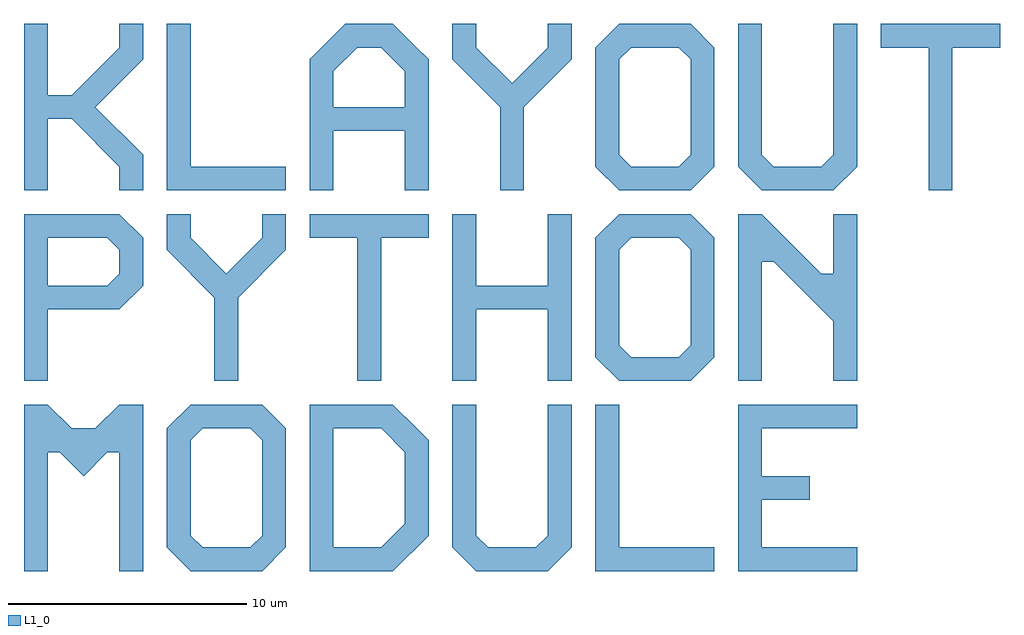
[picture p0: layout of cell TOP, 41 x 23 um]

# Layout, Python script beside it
import klayout.db as db
import math

ly = db.Layout()
top_cell = ly.create_cell("TOP")

spacing = 1.0
y = 0.0

for file in [ "A.gds", "B.gds", "C.gds" ]:

  ly_import = db.Layout()
  ly_import.read(file)
  imported_top_cell = ly_import.top_cell()

  target_cell = ly.create_cell(imported_top_cell.name)
  target_cell.copy_tree(imported_top_cell)

  # frees the resources of the imported layout
  ly_import._destroy()

  inst = db.DCellInstArray(target_cell.cell_index(), db.DTrans(db.DVector(0, y)))
  top_cell.insert(inst)

  y += target_cell.dbbox().height() + spacing

ly.write("layout_merge.gds")
